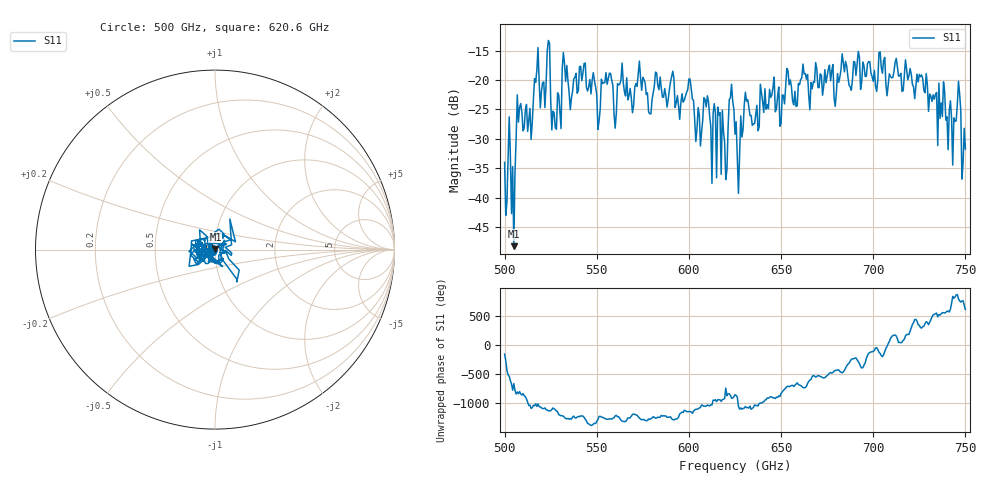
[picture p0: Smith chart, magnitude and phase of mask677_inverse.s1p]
!Created with skrf (http://scikit-rf.org).
# GHz S MA R 50.0
!freq magS11 angS11
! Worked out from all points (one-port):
!   401 points, 500 GHz to 750 GHz, reference 50 ohm
!   lowest |S11| = -48.3 dB at 505 GHz (marker M1), VSWR 1.01, Z = 50.2 + j0.309 ohm
!   |S11| at or under -10 dB: start of sweep to end of sweep
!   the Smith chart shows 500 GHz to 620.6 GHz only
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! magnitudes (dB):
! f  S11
! 500 GHz  -34.0
! 505 GHz  -48.3
! 508.1 GHz  -24.7
! 513.8 GHz  -24.8
! 516.9 GHz  -20.4
! 520.6 GHz  -20.4
! 523.8 GHz  -13.3
! 526.9 GHz  -25.6
! 531.2 GHz  -18.1
! 542.5 GHz  -18.8
! 550.6 GHz  -28.4
! 562.5 GHz  -20.7
! 590.6 GHz  -19.4
! 593.8 GHz  -22.7
! 600 GHz  -19.8
! 605 GHz  -24.7
! 609.4 GHz  -24.6
! 620 GHz  -36.9
! 623.1 GHz  -20.7
! 625 GHz  -29.2
! 627.5 GHz  -32.5
! 631.2 GHz  -23.6
! 656.2 GHz  -23.6
! 687.5 GHz  -21.2
! 718.8 GHz  -20.0
! 741.9 GHz  -23.5
! 746.2 GHz  -20.2
! 750 GHz  -31.7
